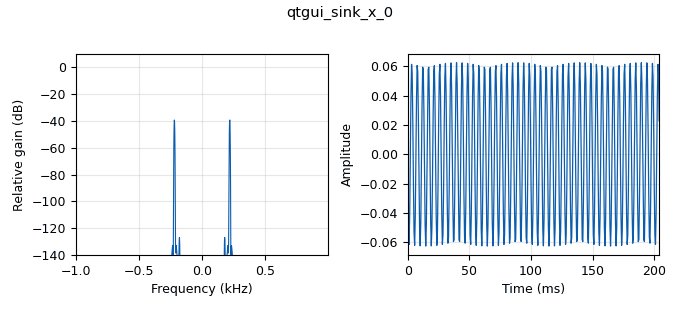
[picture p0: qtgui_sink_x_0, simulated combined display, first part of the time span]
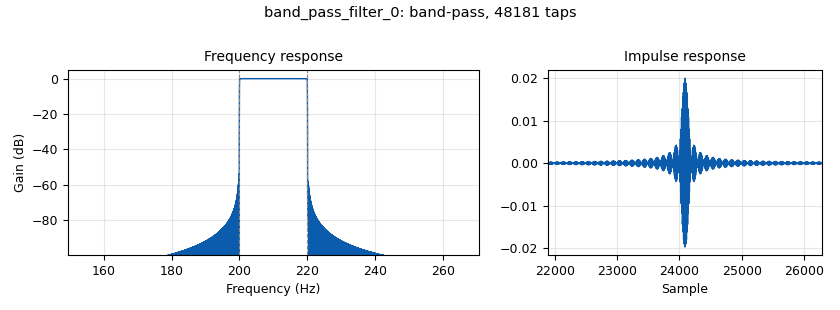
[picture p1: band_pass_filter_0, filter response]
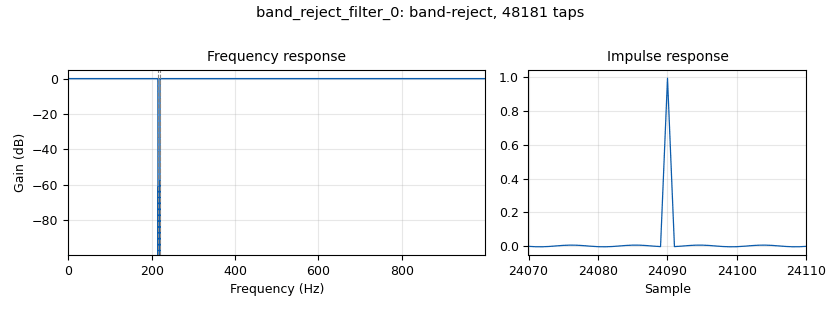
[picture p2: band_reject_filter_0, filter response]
options:
  parameters:
    generate_options: qt_gui
    id: vsb_n1
    output_language: python
    title: Not titled yet
  states: {}

blocks:
- name: samp_rate
  id: variable
  parameters:
    value: '2000'
  states: {}
- name: analog_sig_source_x_0
  id: analog_sig_source_x
  parameters:
    amp: '1'
    freq: '20'
    offset: '0'
    phase: '0'
    samp_rate: samp_rate
    type: float
    waveform: analog.GR_SIN_WAVE
  states: {}
- name: analog_sig_source_x_0_0
  id: analog_sig_source_x
  parameters:
    amp: '1'
    freq: '200'
    offset: '0'
    phase: '0'
    samp_rate: samp_rate
    type: float
    waveform: analog.GR_COS_WAVE
  states: {}
- name: band_pass_filter_0
  id: band_pass_filter
  parameters:
    decim: '1'
    gain: '1'
    high_cutoff_freq: '220'
    low_cutoff_freq: '200'
    samp_rate: samp_rate
    type: fir_filter_fff
    width: '0.1'
    win: firdes.WIN_HAMMING
  states: {}
- name: band_reject_filter_0
  id: band_reject_filter
  parameters:
    decim: '1'
    gain: '1'
    high_cutoff_freq: '220'
    low_cutoff_freq: '215'
    samp_rate: samp_rate
    type: fir_filter_fff
    width: '0.1'
    win: firdes.WIN_HAMMING
  states: {}
- name: blocks_multiply_const_vxx_0
  id: blocks_multiply_const_vxx
  parameters:
    const: '0.5'
    type: float
  states: {}
- name: blocks_multiply_xx_0
  id: blocks_multiply_xx
  parameters:
    type: float
  states: {}
- name: blocks_throttle_0
  id: blocks_throttle
  parameters:
    samples_per_second: samp_rate
    type: float
  states: {}
- name: qtgui_sink_x_0
  id: qtgui_sink_x
  parameters:
    bw: samp_rate
    fc: '0'
    fftsize: '1024'
    type: float
    wintype: firdes.WIN_BLACKMAN_hARRIS
  states: {}

connections:
- [analog_sig_source_x_0, '0', blocks_multiply_const_vxx_0, '0']
- [analog_sig_source_x_0_0, '0', blocks_multiply_xx_0, '1']
- [band_pass_filter_0, '0', band_reject_filter_0, '0']
- [band_reject_filter_0, '0', blocks_throttle_0, '0']
- [blocks_multiply_const_vxx_0, '0', blocks_multiply_xx_0, '0']
- [blocks_multiply_xx_0, '0', band_pass_filter_0, '0']
- [blocks_throttle_0, '0', qtgui_sink_x_0, '0']

metadata:
  file_format: 1
